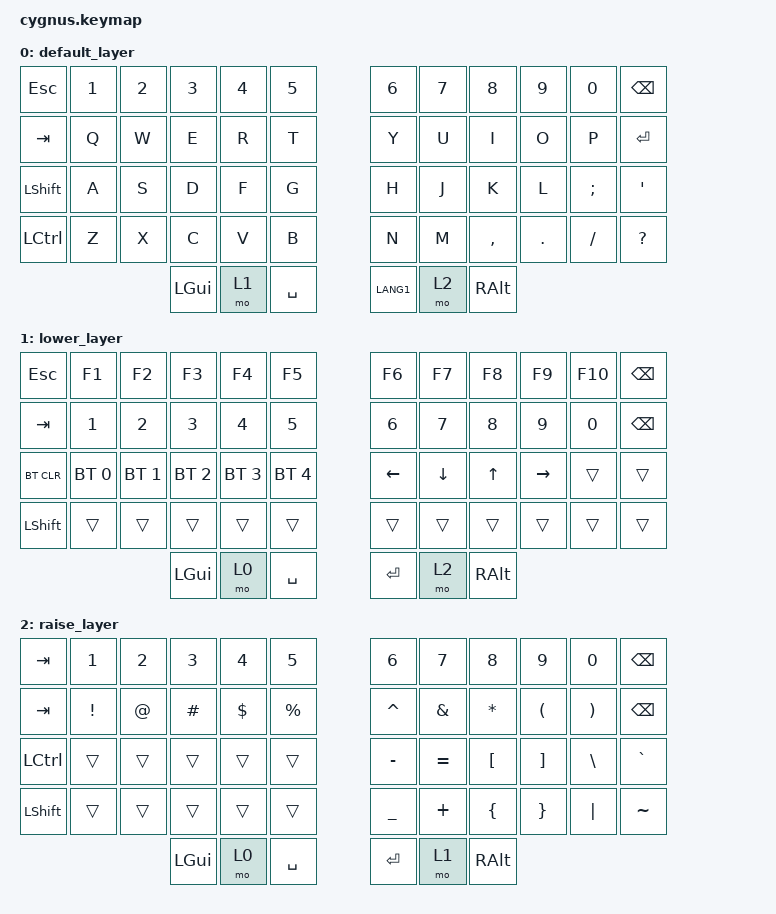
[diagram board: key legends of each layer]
#include <behaviors.dtsi>
#include <dt-bindings/zmk/keys.h>
#include <dt-bindings/zmk/bt.h>

/ {
        keymap {
                compatible = "zmk,keymap";

                default_layer {
// -----------------------------------------------------------------------------------------
// |  ESC |  1  |  2  |  3  |  4  |  5  |   |  6  |  7   |  8  |  9  |  0  | BKSP |
// |  TAB |  Q  |  W  |  E  |  R  |  T  |   |  Y  |  U   |  I  |  O  |  P  | enter|
// | SHFT |  A  |  S  |  D  |  F  |  G  |   |  H  |  J   |  K  |  L  |  ;  |  '   |
// | CTRL |  Z  |  X  |  C  |  V  |  B  |   |  N  |  M   |  ,  |  .  |  /  |  ?   |
//                    | GUI | LWR | SPC |   |LANG | RSE  | ALT |
                        bindings = <
   &kp ESC &kp N1 &kp N2 &kp N3 &kp N4 &kp N5 &kp N6 &kp N7 &kp N8 &kp N9 &kp N0 &kp BSPC
   &kp TAB   &kp Q &kp W &kp E &kp R &kp T   &kp Y &kp U  &kp I     &kp O   &kp P    &kp RET
   &kp LSHFT &kp A &kp S &kp D &kp F &kp G   &kp H &kp J  &kp K     &kp L   &kp SEMI &kp SQT
   &kp LCTRL &kp Z &kp X &kp C &kp V &kp B   &kp N &kp M  &kp COMMA &kp DOT &kp FSLH &kp QMARK
                  &kp LGUI &mo 1 &kp SPACE   &kp LANG1 &mo 2 &kp RALT
                        >;
                };
                lower_layer {
// -----------------------------------------------------------------------------------------
// |  ESC |  F1 |  F2 |  F3 |  F4 |  F5 |   |  F6 |  F7 |  F8 |  F9 | F10 | BKSP |
// |  TAB |  1  |  2  |  3  |  4  |  5  |   |  6  |  7  |  8  |  9  |  0  | BKSP |
// | BTCLR| BT1 | BT2 | BT3 | BT4 | BT5 |   | LFT | DWN |  UP | RGT |     |      |
// | SHFT |     |     |     |     |     |   |     |     |     |     |     |      |
//                    | GUI |     | SPC |   | ENT |     | ALT |
                        bindings = <
   &kp ESC &kp F1 &kp F2 &kp F3 &kp F4 &kp F5 &kp F6 &kp F7 &kp F8 &kp F9 &kp F10 &kp BSPC
   &kp TAB    &kp N1       &kp N2       &kp N3       &kp N4       &kp N5         &kp N6   &kp N7   &kp N8 &kp N9    &kp N0 &kp BSPC
   &bt BT_CLR &bt BT_SEL 0 &bt BT_SEL 1 &bt BT_SEL 2 &bt BT_SEL 3 &bt BT_SEL 4   &kp LEFT &kp DOWN &kp UP &kp RIGHT &trans &trans
   &kp LSHFT  &trans       &trans       &trans       &trans       &trans         &trans   &trans   &trans &trans    &trans &trans
                                    &kp LGUI     &mo 0       &kp SPACE      &kp RET  &mo 2   &kp RALT
                        >;
                };

                raise_layer {
// -----------------------------------------------------------------------------------------
// |  TAB |  !  |  @  |  #  |  $  |  %  |   |  ^  |  &  |  *  |  (  |  )  | BKSP |
// | CTRL |     |     |     |     |     |   |  -  |  =  |  [  |  ]  |  \  |  `   |
// | SHFT |     |     |     |     |     |   |  _  |  +  |  {  |  }  | "|" |  ~   |
//                    | GUI |     | SPC |   | ENT |     | ALT |
                        bindings = <
   &kp TAB &kp N1 &kp N2 &kp N3 &kp N4 &kp N5 &kp N6 &kp N7 &kp N8 &kp N9 &kp N0 &kp BSPC
   &kp  TAB  &kp EXCL &kp AT &kp HASH &kp DLLR &kp PRCNT   &kp CARET &kp AMPS  &kp ASTRK &kp LPAR &kp RPAR &kp BSPC
   &kp LCTRL &trans   &trans &trans   &trans   &trans      &kp MINUS &kp EQUAL &kp LBKT  &kp RBKT &kp BSLH &kp GRAVE
   &kp LSHFT &trans   &trans &trans   &trans   &trans      &kp UNDER &kp PLUS  &kp LBRC  &kp RBRC &kp PIPE &kp TILDE
                             &kp LGUI &mo 0   &kp SPACE   &kp RET   &mo 1    &kp RALT
                        >;
                };
        };
};
